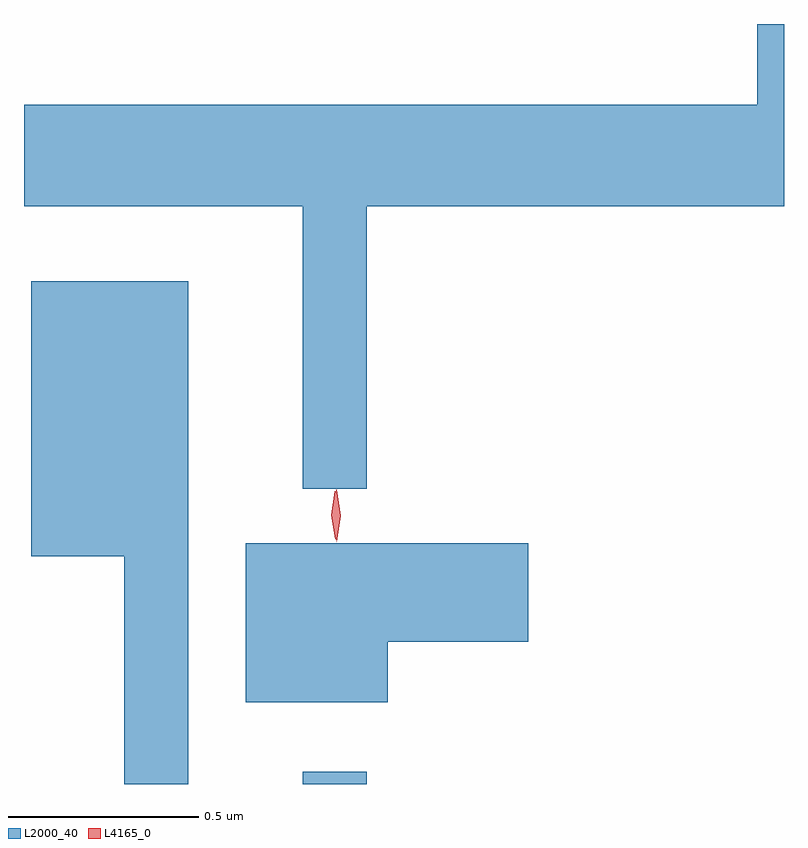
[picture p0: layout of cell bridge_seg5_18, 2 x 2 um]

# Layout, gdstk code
import gdstk
lib = gdstk.Library(unit=1e-6, precision=1e-09)
def R(c, l, rs):  # rectangles x0, y0, x1, y1
    for r in rs: c.add(gdstk.rectangle(r[:2], r[2:], *l))
def P(c, l, *ps):  # polygons
    for p in ps: c.add(gdstk.Polygon(p, *l))
L2000_40 = (2000, 40)
L4165_0 = (4165, 0)

bridge_seg5_18 = lib.new_cell('bridge_seg5_18')
R(bridge_seg5_18, L2000_40, [(1240.911,1468.596,1241.079,1468.628)])
P(bridge_seg5_18, L2000_40, [(1241.079,1470.116),(1242.177,1470.116),(1242.177,1470.596),(1242.106,1470.596),(1242.106,1470.384),(1240.177,1470.384),(1240.177,1470.116),(1240.911,1470.116),(1240.911,1469.373),(1241.079,1469.373)],
  [(1240.609,1469.919),(1240.196,1469.919),(1240.196,1469.196),(1240.441,1469.196),(1240.441,1468.596),(1240.609,1468.596)],
  [(1241.134,1468.971),(1241.504,1468.971),(1241.504,1469.229),(1240.761,1469.229),(1240.761,1468.811),(1241.134,1468.811)])
P(bridge_seg5_18, L4165_0, [(1241,1469.234),(1241,1469.234),(1240.99,1469.302),(1240.999,1469.37),(1240.999,1469.37),(1241,1469.37),(1241.01,1469.302),(1241,1469.234)],
  [(1240.996,1469.24),(1240.996,1469.241),(1240.986,1469.303),(1240.995,1469.366),(1240.995,1469.367),(1240.996,1469.366),(1241.006,1469.304),(1240.997,1469.241)])

lib.write_gds('bridge_seg5_18.gds')
